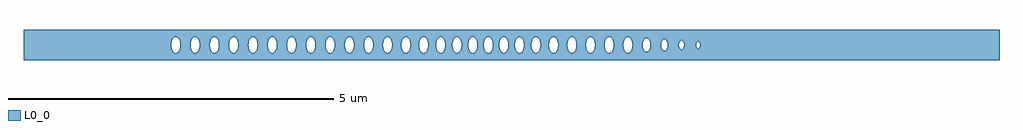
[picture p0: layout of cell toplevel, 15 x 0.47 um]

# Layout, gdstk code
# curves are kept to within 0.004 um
import gdstk
lib = gdstk.Library(unit=1e-6, precision=1e-09)
def P(c, l, *ps):  # polygons
    for p in ps: c.add(gdstk.Polygon(p, *l))
L0_0 = (0, 0)

toplevel = lib.new_cell('toplevel')
P(toplevel, L0_0, [(-4.614,-0.235),(-4.614,-0.09),(-4.628,-0.06),(-4.636,-0.016),(-4.632,0.046),(-4.614,0.09),(-4.614,0.235),(-7.5,0.235),(-7.5,-0.016),(-5.229,-0.016),(-5.226,0.038),(-5.216,0.073),(-5.193,0.109),(-5.163,0.124),(-5.137,0.118),(-5.114,0.096),(-5.093,0.046),(-5.089,-0.008),(-4.933,-0.008),(-4.93,0.038),(-4.917,0.079),(-4.896,0.109),(-4.867,0.124),(-4.841,0.118),(-4.814,0.09),(-4.797,0.046),(-4.792,0.008),(-4.795,-0.038),(-4.805,-0.073),(-4.832,-0.112),(-4.858,-0.124),(-4.884,-0.118),(-4.911,-0.09),(-4.928,-0.046),(-4.933,-0.008),(-5.089,-0.008),(-5.093,-0.046),(-5.114,-0.096),(-5.137,-0.118),(-5.155,-0.124),(-5.181,-0.118),(-5.204,-0.096),(-5.221,-0.06),(-5.229,-0.016),(-7.5,-0.016),(-7.5,-0.235)],
  [(-4.043,0.016),(-4.035,0.06),(-4.018,0.096),(-3.995,0.118),(-3.964,0.123),(-3.964,0.235),(-4.614,0.235),(-4.614,0.09),(-4.6,0.109),(-4.575,0.123),(-4.553,0.122),(-4.532,0.109),(-4.504,0.06),(-4.496,-0.008),(-4.34,-0.008),(-4.337,0.038),(-4.327,0.073),(-4.3,0.112),(-4.274,0.124),(-4.248,0.118),(-4.221,0.09),(-4.204,0.046),(-4.199,0.008),(-4.201,-0.031),(-4.215,-0.079),(-4.236,-0.109),(-4.265,-0.124),(-4.291,-0.118),(-4.318,-0.09),(-4.335,-0.046),(-4.34,-0.008),(-4.496,-0.008),(-4.509,-0.073),(-4.521,-0.096),(-4.544,-0.118),(-4.579,-0.122),(-4.6,-0.109),(-4.614,-0.09),(-4.614,-0.235),(-3.964,-0.235),(-3.964,-0.123),(-3.991,-0.12),(-4.018,-0.096),(-4.039,-0.046)],
  [(-3.45,0.016),(-3.446,0.046),(-3.431,0.085),(-3.414,0.109),(-3.393,0.122),(-3.367,0.122),(-3.346,0.109),(-3.321,0.066),(-3.321,0.235),(-3.964,0.235),(-3.964,0.123),(-3.935,0.105),(-3.916,0.073),(-3.906,0.038),(-3.903,-0.008),(-3.747,-0.008),(-3.744,0.038),(-3.734,0.073),(-3.711,0.109),(-3.681,0.124),(-3.655,0.118),(-3.628,0.09),(-3.611,0.046),(-3.606,0.008),(-3.608,-0.031),(-3.622,-0.079),(-3.643,-0.109),(-3.672,-0.124),(-3.703,-0.115),(-3.725,-0.09),(-3.742,-0.046),(-3.747,-0.008),(-3.903,-0.008),(-3.909,-0.053),(-3.922,-0.085),(-3.939,-0.109),(-3.964,-0.123),(-3.964,-0.235),(-3.321,-0.235),(-3.321,-0.067),(-3.335,-0.096),(-3.358,-0.118),(-3.376,-0.124),(-3.402,-0.118),(-3.425,-0.096),(-3.44,-0.066)],
  [(-3.312,-0.031),(-3.321,-0.066),(-3.321,-0.235),(-2.56,-0.235),(-2.56,0.235),(-3.321,0.235),(-3.321,0.066),(-3.312,0.031),(-3.31,-0.016),(-3.154,-0.016),(-3.151,0.038),(-3.141,0.073),(-3.118,0.109),(-3.088,0.124),(-3.062,0.118),(-3.035,0.09),(-3.018,0.046),(-3.013,0),(-2.858,0),(-2.849,0.06),(-2.829,0.1),(-2.8,0.122),(-2.765,0.118),(-2.742,0.096),(-2.725,0.06),(-2.717,-0.016),(-2.723,-0.053),(-2.736,-0.085),(-2.753,-0.109),(-2.774,-0.122),(-2.805,-0.12),(-2.832,-0.096),(-2.853,-0.046),(-2.858,0),(-3.013,0),(-3.018,-0.046),(-3.032,-0.085),(-3.05,-0.109),(-3.079,-0.124),(-3.105,-0.118),(-3.129,-0.096),(-3.141,-0.073),(-3.154,-0.016),(-3.31,-0.016)],
  [(-2.559,0.031),(-2.536,0.096),(-2.512,0.118),(-2.486,0.124),(-2.457,0.109),(-2.439,0.085),(-2.425,0.046),(-2.42,-0.008),(-2.266,-0.008),(-2.261,0.046),(-2.247,0.085),(-2.217,0.118),(-2.191,0.124),(-2.161,0.109),(-2.144,0.085),(-2.128,0.038),(-2.125,-0.008),(-2.128,-0.038),(-2.144,-0.085),(-2.161,-0.109),(-2.191,-0.124),(-2.217,-0.118),(-2.244,-0.09),(-2.261,-0.046),(-2.266,-0.008),(-2.42,-0.008),(-2.425,-0.046),(-2.439,-0.085),(-2.457,-0.109),(-2.486,-0.124),(-2.512,-0.118),(-2.536,-0.096),(-2.56,-0.026),(-2.56,-0.235),(-1.939,-0.235),(-1.939,-0.109),(-1.962,-0.073),(-1.975,-0.016),(-1.967,0.06),(-1.939,0.109),(-1.939,0.235),(-2.56,0.235)],
  [(-1.42,0.016),(-1.41,0.066),(-1.384,0.109),(-1.363,0.122),(-1.346,0.124),(-1.312,0.105),(-1.312,0.235),(-1.939,0.235),(-1.939,0.109),(-1.918,0.122),(-1.9,0.124),(-1.867,0.105),(-1.853,0.085),(-1.839,0.046),(-1.835,-0.008),(-1.693,-0.008),(-1.691,0.031),(-1.677,0.079),(-1.656,0.109),(-1.627,0.124),(-1.601,0.118),(-1.577,0.096),(-1.565,0.073),(-1.552,0.016),(-1.555,-0.038),(-1.565,-0.073),(-1.588,-0.109),(-1.618,-0.124),(-1.644,-0.118),(-1.671,-0.09),(-1.688,-0.046),(-1.693,-0.008),(-1.835,-0.008),(-1.845,-0.066),(-1.871,-0.109),(-1.9,-0.124),(-1.918,-0.122),(-1.939,-0.109),(-1.939,-0.235),(-1.312,-0.235),(-1.312,-0.105),(-1.346,-0.124),(-1.368,-0.12),(-1.388,-0.105),(-1.416,-0.046)],
  [(-0.907,0.016),(-0.903,0.046),(-0.886,0.09),(-0.871,0.109),(-0.842,0.124),(-0.816,0.118),(-0.793,0.096),(-0.78,0.073),(-0.768,0.023),(-0.768,0.235),(-1.312,0.235),(-1.312,0.105),(-1.286,0.053),(-1.28,-0.016),(-1.159,-0.016),(-1.156,0.038),(-1.146,0.073),(-1.123,0.109),(-1.093,0.124),(-1.067,0.118),(-1.04,0.09),(-1.023,0.046),(-1.018,0.008),(-1.02,-0.031),(-1.034,-0.079),(-1.055,-0.109),(-1.084,-0.124),(-1.11,-0.118),(-1.134,-0.096),(-1.146,-0.073),(-1.159,-0.016),(-1.28,-0.016),(-1.288,-0.06),(-1.312,-0.105),(-1.312,-0.235),(-0.768,-0.235),(-0.768,-0.026),(-0.78,-0.073),(-0.8,-0.105),(-0.824,-0.122),(-0.851,-0.122),(-0.875,-0.105),(-0.892,-0.079),(-0.906,-0.031)],
  [(-0.768,-0.235),(-0.17,-0.235),(-0.17,-0.085),(-0.189,-0.016),(-0.186,0.038),(-0.17,0.085),(-0.17,0.235),(-0.768,0.235),(-0.767,-0.008),(-0.665,-0.008),(-0.663,0.031),(-0.649,0.079),(-0.628,0.109),(-0.599,0.124),(-0.568,0.115),(-0.543,0.085),(-0.527,0.038),(-0.524,-0.016),(-0.426,-0.016),(-0.423,0.038),(-0.413,0.073),(-0.39,0.109),(-0.36,0.124),(-0.334,0.118),(-0.304,0.085),(-0.29,0.046),(-0.285,0),(-0.29,-0.046),(-0.304,-0.085),(-0.322,-0.109),(-0.351,-0.124),(-0.378,-0.118),(-0.401,-0.096),(-0.418,-0.06),(-0.426,-0.016),(-0.524,-0.016),(-0.537,-0.073),(-0.549,-0.096),(-0.573,-0.118),(-0.599,-0.124),(-0.628,-0.109),(-0.646,-0.085),(-0.66,-0.046),(-0.665,-0.008),(-0.767,-0.008)],
  [(0.306,0.016),(0.314,0.06),(0.331,0.096),(0.354,0.118),(0.38,0.124),(0.38,0.235),(-0.17,0.235),(-0.17,0.085),(-0.153,0.109),(-0.132,0.122),(-0.105,0.122),(-0.085,0.109),(-0.057,0.06),(-0.048,-0.008),(0.052,-0.008),(0.055,0.038),(0.065,0.073),(0.088,0.109),(0.118,0.124),(0.144,0.118),(0.171,0.09),(0.188,0.046),(0.193,0.008),(0.191,-0.031),(0.177,-0.079),(0.16,-0.105),(0.136,-0.122),(0.109,-0.122),(0.078,-0.096),(0.061,-0.061),(0.052,-0.008),(-0.048,-0.008),(-0.064,-0.079),(-0.081,-0.105),(-0.105,-0.122),(-0.123,-0.124),(-0.14,-0.118),(-0.17,-0.085),(-0.17,-0.235),(0.38,-0.235),(0.38,-0.124),(0.354,-0.118),(0.324,-0.085),(0.307,-0.031)],
  [(0.38,0.235),(0.38,0.124),(0.41,0.109),(0.427,0.085),(0.443,0.038),(0.446,-0.008),(0.575,-0.008),(0.58,0.046),(0.591,0.079),(0.612,0.109),(0.641,0.124),(0.668,0.118),(0.691,0.096),(0.71,0.053),(0.716,0.016),(0.713,-0.038),(0.703,-0.073),(0.68,-0.109),(0.65,-0.124),(0.624,-0.118),(0.601,-0.096),(0.584,-0.06),(0.575,-0.008),(0.446,-0.008),(0.437,-0.061),(0.421,-0.096),(0.402,-0.115),(0.38,-0.124),(0.38,-0.235),(0.985,-0.235),(0.985,-0.073),(0.973,-0.096),(0.95,-0.118),(0.932,-0.124),(0.906,-0.118),(0.89,-0.105),(0.871,-0.073),(0.858,-0.016),(0.866,0.06),(0.883,0.096),(0.906,0.118),(0.924,0.124),(0.95,0.118),(0.966,0.105),(0.985,0.073),(0.985,0.235)],
  [(1.57,-0.016),(1.562,-0.06),(1.545,-0.096),(1.522,-0.118),(1.491,-0.123),(1.462,-0.105),(1.443,-0.073),(1.433,-0.038),(1.43,0.016),(1.436,0.053),(1.455,0.096),(1.478,0.118),(1.505,0.124),(1.534,0.109),(1.552,0.085),(1.566,0.046),(1.571,0.008),(1.571,0.235),(0.985,0.235),(0.985,0.072),(0.994,0.046),(0.998,-0.016),(1.144,-0.016),(1.147,0.038),(1.157,0.073),(1.18,0.109),(1.21,0.124),(1.236,0.118),(1.266,0.085),(1.28,0.046),(1.285,0),(1.28,-0.046),(1.266,-0.085),(1.248,-0.109),(1.219,-0.124),(1.192,-0.118),(1.169,-0.096),(1.152,-0.06),(1.144,-0.016),(0.998,-0.016),(0.985,-0.073),(0.985,-0.235),(1.571,-0.235)],
  [(1.859,-0.016),(1.841,-0.085),(1.823,-0.109),(1.794,-0.124),(1.767,-0.118),(1.744,-0.096),(1.732,-0.073),(1.719,-0.016),(1.571,-0.016),(1.571,-0.235),(2.347,-0.235),(2.347,-0.089),(2.329,-0.081),(2.313,-0.061),(2.3,-0.011),(2.301,0.022),(2.311,0.057),(2.329,0.081),(2.347,0.089),(2.347,0.235),(1.571,0.235),(1.571,-0.016),(1.719,-0.016),(1.722,0.038),(1.732,0.073),(1.755,0.109),(1.78,0.123),(1.811,0.118),(1.841,0.085),(1.855,0.046),(1.86,-0.007),(2.015,-0.007),(2.019,0.039),(2.043,0.09),(2.076,0.107),(2.102,0.096),(2.12,0.073),(2.131,0.045),(2.136,-0.013),(2.12,-0.073),(2.087,-0.105),(2.064,-0.105),(2.034,-0.078),(2.019,-0.039),(2.015,-0.007),(1.86,-0.007)],
  [(2.4,-0.017),(2.383,-0.069),(2.366,-0.085),(2.347,-0.089),(2.347,-0.235),(7.5,-0.235),(7.5,0.235),(2.347,0.235),(2.347,0.089),(2.366,0.085),(2.383,0.069),(2.395,0.043),(2.401,-0.005),(2.572,-0.005),(2.583,0.049),(2.593,0.063),(2.61,0.072),(2.628,0.067),(2.643,0.049),(2.652,0.022),(2.653,-0.007),(2.837,-0.007),(2.844,0.035),(2.864,0.054),(2.883,0.048),(2.896,0.023),(2.896,-0.023),(2.883,-0.048),(2.872,-0.054),(2.86,-0.053),(2.848,-0.042),(2.837,-0.007),(2.653,-0.007),(2.643,-0.049),(2.633,-0.063),(2.615,-0.072),(2.598,-0.067),(2.583,-0.049),(2.572,-0.005),(2.401,-0.005)])

lib.write_gds('toplevel.gds')
